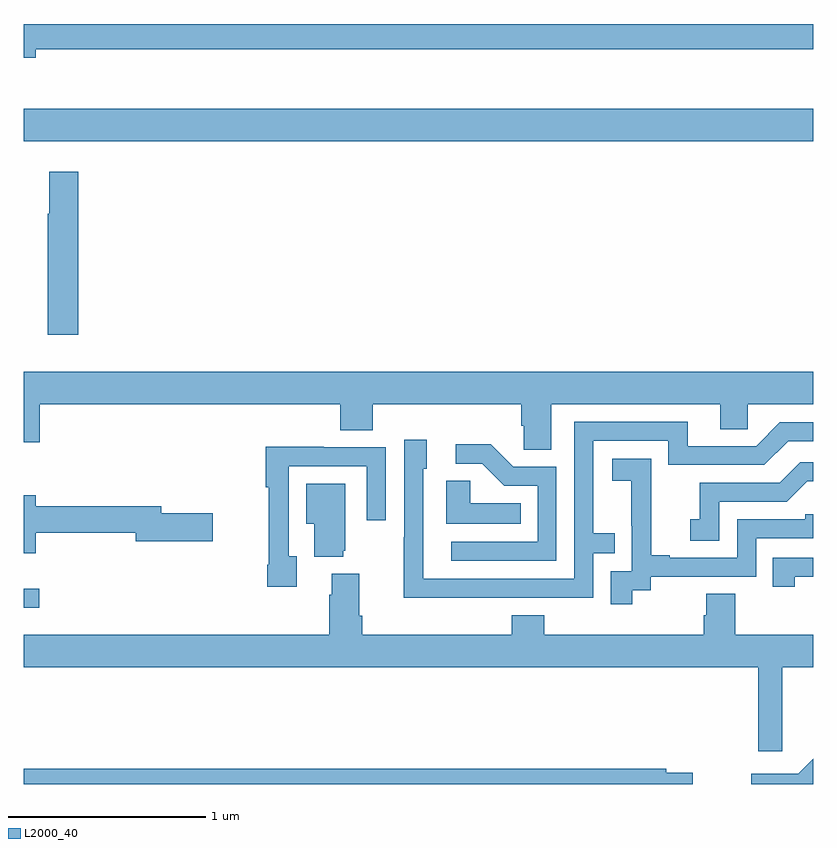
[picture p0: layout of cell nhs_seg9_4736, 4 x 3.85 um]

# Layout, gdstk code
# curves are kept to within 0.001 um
import gdstk
lib = gdstk.Library(unit=1e-6, precision=1e-09)
def R(c, l, rs):  # rectangles x0, y0, x1, y1
    for r in rs: c.add(gdstk.rectangle(r[:2], r[2:], *l))
def P(c, l, *ps):  # polygons
    for p in ps: c.add(gdstk.Polygon(p, *l))
L2000_40 = (2000, 40)

nhs_seg9_4736 = lib.new_cell('nhs_seg9_4736')
R(nhs_seg9_4736, L2000_40, [(385,1191.392,385.078,1191.489), (385,1193.756,389,1193.92)])
P(nhs_seg9_4736, L2000_40, [(385.06,1194.222),(389,1194.222),(389,1194.35),(385,1194.35),(385,1194.179),(385.06,1194.179)],
  [(385.277,1193.602),(385.13,1193.602),(385.13,1193.389),(385.123,1193.389),(385.123,1192.776),(385.277,1192.776)],
  [(387.673,1192.424),(388.529,1192.424),(388.529,1192.297),(388.668,1192.297),(388.668,1192.424),(389,1192.424),(389,1192.588),(385,1192.588),(385,1192.23),(385.082,1192.23),(385.082,1192.424),(386.603,1192.424),(386.603,1192.291),(386.768,1192.291),(386.768,1192.424),(387.521,1192.424),(387.521,1192.315),(387.534,1192.315),(387.534,1192.192),(387.673,1192.192)],
  [(387.389,1191.444),(387.885,1191.444),(387.885,1191.669),(387.995,1191.669),(387.995,1191.77),(387.885,1191.77),(387.885,1192.239),(388.266,1192.239),(388.266,1192.116),(388.752,1192.116),(388.872,1192.236),(389,1192.236),(389,1192.332),(388.83,1192.332),(388.71,1192.212),(388.363,1192.212),(388.363,1192.335),(387.789,1192.335),(387.789,1191.54),(387.024,1191.54),(387.024,1192.098),(387.043,1192.098),(387.043,1192.243),(386.928,1192.243),(386.928,1191.749),(386.926,1191.749),(386.926,1191.443)],
  [(387.699,1192.107),(387.48,1192.107),(387.367,1192.22),(387.189,1192.22),(387.189,1192.122),(387.323,1192.122),(387.434,1192.011),(387.603,1192.011),(387.603,1191.726),(387.165,1191.726),(387.165,1191.63),(387.699,1191.63)],
  [(386.383,1191.654),(386.343,1191.654),(386.343,1192.11),(386.739,1192.11),(386.739,1191.837),(386.835,1191.837),(386.835,1192.206),(386.519,1192.206),(386.519,1192.208),(386.227,1192.208),(386.227,1192.003),(386.242,1192.003),(386.242,1191.61),(386.235,1191.61),(386.235,1191.498),(386.383,1191.498)],
  [(388.084,1191.481),(388.176,1191.481),(388.176,1191.549),(388.71,1191.549),(388.71,1191.744),(389,1191.744),(389,1191.867),(388.959,1191.867),(388.959,1191.84),(388.614,1191.84),(388.614,1191.645),(388.273,1191.645),(388.273,1191.658),(388.178,1191.658),(388.178,1191.941),(388.179,1191.941),(388.179,1192.147),(387.981,1192.147),(387.981,1192.037),(388.079,1192.037),(388.079,1191.809),(388.08,1191.809),(388.08,1191.579),(387.975,1191.579),(387.975,1191.411),(388.084,1191.411)],
  [(388.524,1191.93),(388.866,1191.93),(388.97,1192.034),(389,1192.034),(389,1192.131),(388.934,1192.131),(388.829,1192.026),(388.426,1192.026),(388.426,1191.841),(388.377,1191.841),(388.377,1191.732),(388.524,1191.732)],
  [(387.518,1191.922),(387.261,1191.922),(387.261,1192.037),(387.14,1192.037),(387.14,1191.818),(387.518,1191.818)],
  [(386.618,1191.681),(386.629,1191.681),(386.629,1192.021),(386.432,1192.021),(386.432,1191.818),(386.471,1191.818),(386.471,1191.65),(386.618,1191.65)],
  [(385.06,1191.772),(385.568,1191.772),(385.568,1191.73),(385.957,1191.73),(385.957,1191.872),(385.696,1191.872),(385.696,1191.908),(385.06,1191.908),(385.06,1191.964),(385,1191.964),(385,1191.668),(385.06,1191.668)],
  [(388.906,1191.549),(389,1191.549),(389,1191.645),(388.795,1191.645),(388.795,1191.498),(388.906,1191.498)],
  [(388.843,1191.092),(389,1191.092),(389,1191.256),(388.605,1191.256),(388.605,1191.464),(388.457,1191.464),(388.457,1191.354),(388.445,1191.354),(388.445,1191.256),(387.638,1191.256),(387.638,1191.355),(387.473,1191.355),(387.473,1191.256),(386.714,1191.256),(386.714,1191.352),(386.701,1191.352),(386.701,1191.565),(386.561,1191.565),(386.561,1191.458),(386.549,1191.458),(386.549,1191.256),(385,1191.256),(385,1191.092),(388.721,1191.092),(388.721,1190.667),(388.843,1190.667)],
  [(389,1190.628),(388.923,1190.551),(388.686,1190.551),(388.686,1190.5),(389,1190.5)],
  [(388.39,1190.556),(388.256,1190.556),(388.256,1190.576),(385,1190.576),(385,1190.5),(388.39,1190.5)])

lib.write_gds('nhs_seg9_4736.gds')
